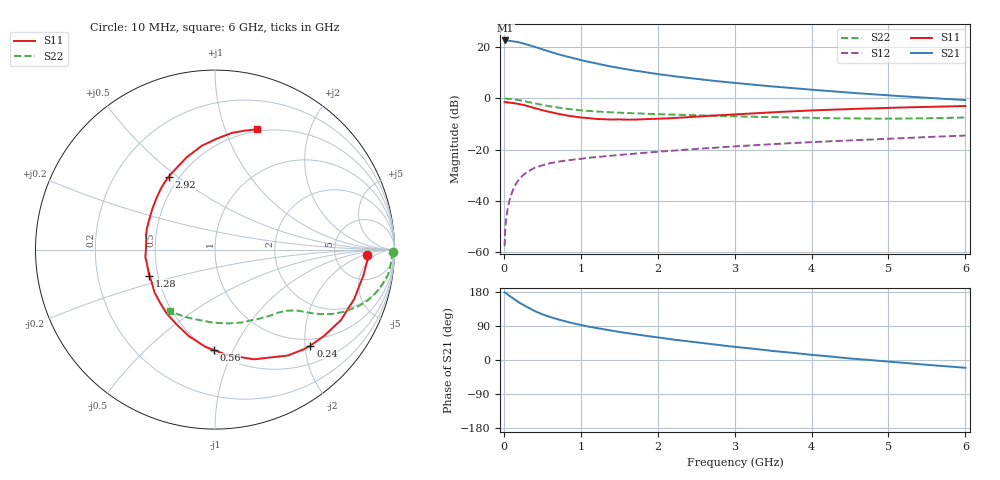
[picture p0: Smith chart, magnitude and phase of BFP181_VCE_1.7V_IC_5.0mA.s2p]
! Infineon Technologies  Discrete & RF Semiconductors
! BFP181
! VCE = 1.7 V,  IC =  5.0 mA
! Common Emitter S-Parameters:  Jan 2016
# GHz  S  MA  R  50
!  f  S11  S21  S12  S22
! GHz  MAG  ANG  MAG  ANG  MAG  ANG  MAG  ANG
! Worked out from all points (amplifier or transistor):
!   210 points, 10 MHz to 6 GHz, reference 50 ohm
!   highest |S21| = 22.6 dB at 20 MHz (marker M1)
!   |S21| within 3 dB of that: start of sweep to 452.2 MHz
!   unconditionally stable (mu >= 1): 1.565 GHz to end of sweep
!   at 185 MHz: K = 0.18, MSG = 27.1 dB, |S12| = -32.2 dB
!   at 1.52 GHz: K = 0.98, MSG = 16.9 dB, |S12| = -22.0 dB
!   at 6 GHz: K = 1.06, MAG = 5.5 dB, |S12| = -14.5 dB
!   S11 on the Smith chart (normalised r, x): 10 MHz: 11, -3; 240 MHz: 0.85, -2.12; 560 MHz: 0.52, -0.84; 1.28 GHz: 0.45, -0.15; 2.92 GHz: 0.44, +0.46; 6 GHz: 0.48, +1.30
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0.01  0.8458 -2.2  13.53 178.7  0.0013 82.8  0.9895 -0.7
0.02  0.8508 -4.1  13.56 177.5  0.0031 88.7  0.9871 -1.6
0.05  0.8392 -9.8  13.53 172.6  0.007 88.3  0.984 -4.2
0.15  0.804 -29.3  12.84 158.3  0.0205 73.5  0.9503 -12.0
0.2  0.7744 -38.5  12.48 151.6  0.0264 69.7  0.9239 -15.5
0.24  0.7541 -45.2  11.96 146.7  0.0305 66.5  0.8998 -18.0
0.3  0.7165 -55.4  11.34 140.1  0.0363 62.1  0.8634 -21.2
0.4  0.649 -70.4  10.21 129.3  0.0442 56.5  0.8006 -25.6
0.5  0.588 -84.1  9.092 120.6  0.0495 51.1  0.7464 -28.7
0.56  0.5588 -90.8  8.538 116.6  0.0524 49.2  0.7188 -30.0
0.7  0.5032 -106.9  7.324 107.3  0.0579 45.6  0.6635 -32.6
0.8  0.4686 -117.1  6.703 101.7  0.0607 43.7  0.6322 -33.8
1.02  0.4218 -138.1  5.508 91.5  0.0667 41.0  0.5821 -36.0
1.28  0.3933 -158.3  4.523 81.7  0.0733 39.3  0.5468 -38.4
1.6  0.3844 179.6  3.699 71.0  0.081 38.5  0.5185 -41.5
2.02  0.4012 156.9  2.963 59.0  0.0913 37.2  0.4923 -46.3
2.4  0.4308 140.2  2.511 49.1  0.1008 36.1  0.4742 -51.6
2.92  0.4802 122.5  2.064 36.6  0.1135 33.8  0.4507 -59.6
3.1  0.4963 117.2  1.944 32.8  0.1181 32.9  0.4431 -62.7
4.1  0.5897 95.4  1.441 11.9  0.1424 27.2  0.4142 -82.5
5.1  0.6613 80.6  1.122 -6.0  0.1652 21.4  0.403 -105.0
6  0.7105 70.7  0.928 -20.6  0.1881 15.4  0.4245 -125.8
